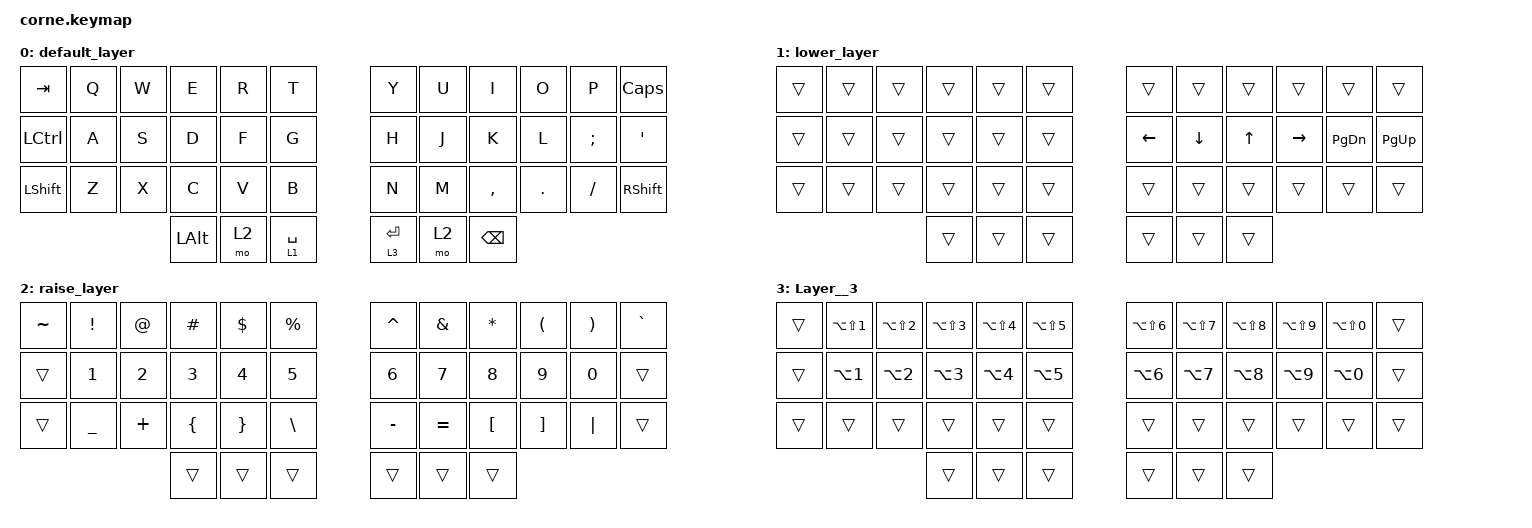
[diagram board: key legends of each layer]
/*
 * Copyright (c) 2020 The ZMK Contributors
 *
 * SPDX-License-Identifier: MIT
 */

#include <behaviors.dtsi>
#include <dt-bindings/zmk/keys.h>

/ {
    keymap {
        compatible = "zmk,keymap";

        default_layer {
            // -----------------------------------------------------------------------------------------
            // |  TAB |  Q  |  W  |  E  |  R  |  T  |   |  Y  |  U   |  I  |  O  |  P  | BKSP |
            // | CTRL |  A  |  S  |  D  |  F  |  G  |   |  H  |  J   |  K  |  L  |  ;  |  '   |
            // | SHFT |  Z  |  X  |  C  |  V  |  B  |   |  N  |  M   |  ,  |  .  |  /  | SHFT |
            //                    | GUI | LWR | SPC |   | ENT | RSE  | ALT |

            bindings = <
   &kp TAB   &kp Q   &kp W         &kp E   &kp R        &kp T        &kp Y   &kp U          &kp I    &kp O     &kp P   &kp CAPS
 &kp LCTRL   &kp A   &kp S         &kp D   &kp F        &kp G        &kp H   &kp J          &kp K    &kp L  &kp SEMI    &kp SQT
 &kp LSHFT   &kp Z   &kp X         &kp C   &kp V        &kp B        &kp N   &kp M      &kp COMMA  &kp DOT  &kp FSLH  &kp RSHFT
                            &kp LEFT_ALT   &mo 2  &lt 1 SPACE  &lt 3 ENTER   &mo 2  &kp BACKSPACE
            >;
        };

        lower_layer {
            // -----------------------------------------------------------------------------------------
            // |  ESC |  1  |  2  |  3  |  4  |  5  |   |  6  |  7  |  8  |  9  |  0  | BKSP |
            // | BTCLR| BT1 | BT2 | BT3 | BT4 | BT5 |   | LFT | DWN |  UP | RGT |     |      |
            // | SHFT |     |     |     |     |     |   |     |     |     |     |     |      |
            //                    | GUI |     | SPC |   | ENT |     | ALT |

            bindings = <
 &trans  &trans  &trans  &trans  &trans  &trans    &trans    &trans  &trans     &trans         &trans       &trans
 &trans  &trans  &trans  &trans  &trans  &trans  &kp LEFT  &kp DOWN  &kp UP  &kp RIGHT  &kp PAGE_DOWN  &kp PAGE_UP
 &trans  &trans  &trans  &trans  &trans  &trans    &trans    &trans  &trans     &trans         &trans       &trans
                         &trans  &trans  &trans    &trans    &trans  &trans
            >;
        };

        raise_layer {
            // -----------------------------------------------------------------------------------------
            // |  ESC |  !  |  @  |  #  |  $  |  %  |   |  ^  |  &  |  *  |  (  |  )  | BKSP |
            // | CTRL |     |     |     |     |     |   |  -  |  =  |  {  |  }  | "|" |  `   |
            // | SHFT |     |     |     |     |     |   |  _  |  +  |  [  |  ]  |  \  |  ~   | // TODO: Fix this row when &mkp is committed
            //                    | GUI |     | SPC |   | ENT |     | ALT |

            bindings = <
 &kp TILDE      &kp EXCL        &kp AT      &kp HASH      &kp DLLR     &kp PRCNT  &kp CARET   &kp AMPS  &kp STAR  &kp LPAR  &kp RPAR  &kp GRAVE
    &trans  &kp NUMBER_1  &kp NUMBER_2  &kp NUMBER_3  &kp NUMBER_4  &kp NUMBER_5     &kp N6     &kp N7    &kp N8    &kp N9    &kp N0     &trans
    &trans     &kp UNDER      &kp PLUS      &kp LBRC      &kp RBRC      &kp BSLH  &kp MINUS  &kp EQUAL  &kp LBKT  &kp RBKT  &kp PIPE     &trans
                                              &trans        &trans        &trans     &trans     &trans    &trans
            >;
        };

        Layer__3 {
            bindings = <
 &trans  &kp LA(LS(NUMBER_1))  &kp LA(LS(NUMBER_2))  &kp LA(LS(NUMBER_3))  &kp LA(LS(NUMBER_4))  &kp LA(LS(NUMBER_5))  &kp LA(LS(NUMBER_6))  &kp LA(LS(NUMBER_7))  &kp LA(LS(NUMBER_8))  &kp LA(LS(NUMBER_9))  &kp LA(LS(NUMBER_0))  &trans
 &trans            &kp LA(N1)            &kp LA(N2)            &kp LA(N3)      &kp LA(NUMBER_4)      &kp LA(NUMBER_5)      &kp LA(NUMBER_6)      &kp LA(NUMBER_7)      &kp LA(NUMBER_8)      &kp LA(NUMBER_9)      &kp LA(NUMBER_0)  &trans
 &trans                &trans                &trans                &trans                &trans                &trans                &trans                &trans                &trans                &trans                &trans  &trans
                                                                   &trans                &trans                &trans                &trans                &trans                &trans
            >;
        };
    };
};
